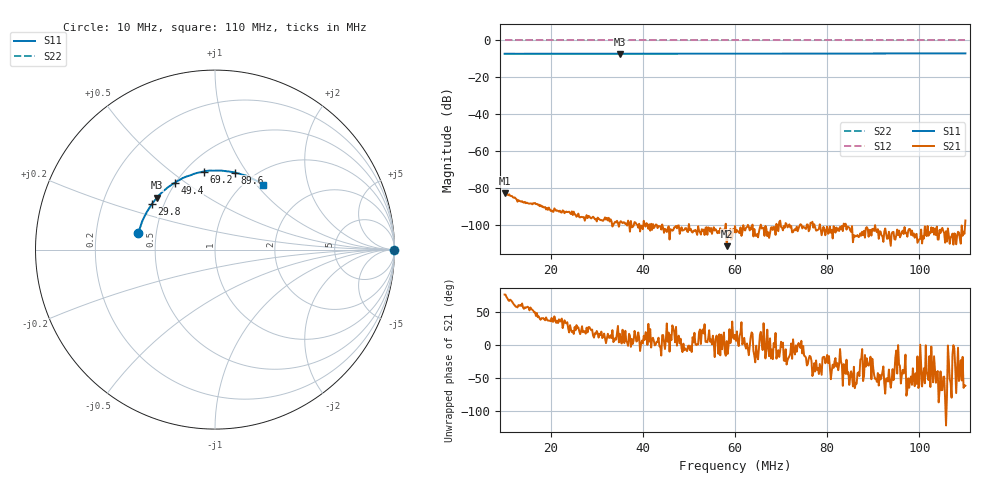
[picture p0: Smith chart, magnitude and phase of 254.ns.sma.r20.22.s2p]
! Anritsu VNA Master:  Model: MS2036C/10/77
! SN:  1601066
! /card0/usr/254.ns.sma.r20.22.s2p
! Existing Calibration Information:
! TYPE:  Current Settings,  Active Cal Settings
! TIME:  12/20/2017 01:50:44 PM,  12/20/2017 01:40:30 PM
! INTERNAL TEMP:  46.8 C,  46.0 C
! # POINTS:  501,  501
! START FREQ:  10.000 MHz,  10.000 MHz
! STOP FREQ:  110.000 MHz,  110.000 MHz
! SOURCE POWER:  High,  High
! IFBW:  100 Hz,  100 Hz
! AVG FACTOR:  1 ,  1
! REF PLANE 1:  0 mm,  0 mm
! REF PLANE 2:  0 mm,  0 mm
! CAL TYPE:  Full S11,  Full S11
! CAL METHOD:  SOLT,  SOLT
! CAL LINE TYPE:  Coax,  Coax
! DUT PORT 1:  N-Conn(F),  N-Conn(F)
! DUT PORT 2:  K-Conn(F),  K-Conn(F)
! CAL STATUS:  OK: Accuracy High,  --
# GHZ S DB R 50.0
! FREQ.GHZ  S11DB  S11A  S21DB  S21A  S12DB  S12A  S22DB  S22A
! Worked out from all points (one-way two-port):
!   501 points, 10 MHz to 110 MHz, reference 50 ohm
!   highest |S21| = -82.65 dB at 10 MHz (marker M1); lowest = -111.3 dB at 58.2 MHz (marker M2)
!   lowest |S11| = -7.3 dB at 35 MHz (marker M3), VSWR 2.53, Z = 22.2 + j15.8 ohm
!   |S11| at or under -10 dB: nowhere
!   |S22| runs from 0.0 to 0.0 dB; largest |S21 - S12| = 1
!   S11 on the Smith chart (normalised r, x): 10 MHz: 0.40, +0.09; 29.8 MHz: 0.43, +0.27; 49.4 MHz: 0.49, +0.45; 69.2 MHz: 0.61, +0.66; 89.6 MHz: 0.83, +0.88; 110 MHz: 1.21, +1.08
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0.01  -7.20 167.8  -82.65 76.6  0.00 0.0  0.00 0.0
0.0182  -7.23 157.9  -89.69 40.4  0.00 0.0  0.00 0.0
0.0268  -7.27 147.7  -95.52 28.4  0.00 0.0  0.00 0.0
0.0298  -7.25 144.3  -96.50 16.6  0.00 0.0  0.00 0.0
0.035  -7.27 138.0  -98.56 16.9  0.00 0.0  0.00 0.0
0.0368  -7.23 135.8  -97.52 -1.5  0.00 0.0  0.00 0.0
0.0434  -7.23 128.2  -100.44 10.9  0.00 0.0  0.00 0.0
0.0494  -7.24 121.3  -101.63 -7.3  0.00 0.0  0.00 0.0
0.0548  -7.19 114.8  -101.49 8.4  0.00 0.0  0.00 0.0
0.0582  -7.19 111.1  -111.35 5.7  0.00 0.0  0.00 0.0
0.06  -7.21 109.0  -100.49 15.4  0.00 0.0  0.00 0.0
0.0628  -7.16 105.7  -99.82 -5.9  0.00 0.0  0.00 0.0
0.0692  -7.14 98.2  -102.15 -10.9  0.00 0.0  0.00 0.0
0.071  -7.11 96.4  -98.83 -6.7  0.00 0.0  0.00 0.0
0.0742  -7.12 93.1  -99.47 -4.6  0.00 0.0  0.00 0.0
0.0768  -7.13 89.9  -98.13 -47.5  0.00 0.0  0.00 0.0
0.0814  -7.09 84.6  -100.55 -35.0  0.00 0.0  0.00 0.0
0.0896  -7.06 75.3  -105.66 -52.3  0.00 0.0  0.00 0.0
0.0934  -7.05 70.9  -103.54 -37.6  0.00 0.0  0.00 0.0
0.0996  -6.98 64.3  -109.53 -17.5  0.00 0.0  0.00 0.0
0.1048  -6.98 58.7  -102.16 -69.0  0.00 0.0  0.00 0.0
0.11  -6.99 53.0  -97.43 -62.2  0.00 0.0  0.00 0.0
